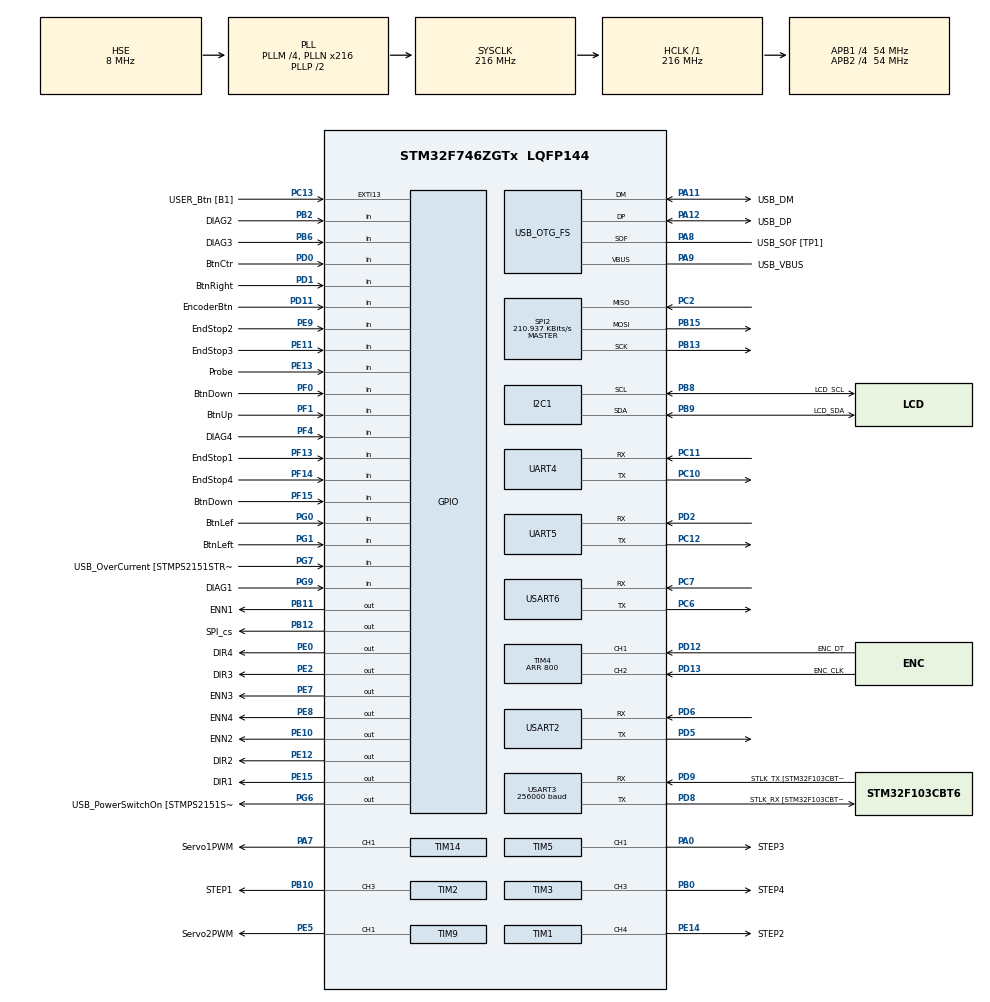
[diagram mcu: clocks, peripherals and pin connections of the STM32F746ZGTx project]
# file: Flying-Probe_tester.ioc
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Dma.Request0=USART6_RX
Dma.Request1=UART4_RX
Dma.Request2=UART5_RX
Dma.Request3=USART2_RX
Dma.Request4=USART3_RX
Dma.Request5=USART3_TX
Dma.UART4_RX.1.Direction=DMA_PERIPH_TO_MEMORY
Dma.UART4_RX.1.FIFOMode=DMA_FIFOMODE_DISABLE
Dma.UART4_RX.1.Instance=DMA1_Stream2
Dma.UART4_RX.1.MemDataAlignment=DMA_MDATAALIGN_BYTE
Dma.UART4_RX.1.MemInc=DMA_MINC_ENABLE
Dma.UART4_RX.1.Mode=DMA_NORMAL
Dma.UART4_RX.1.PeriphDataAlignment=DMA_PDATAALIGN_BYTE
Dma.UART4_RX.1.PeriphInc=DMA_PINC_DISABLE
Dma.UART4_RX.1.Priority=DMA_PRIORITY_LOW
Dma.UART5_RX.2.Direction=DMA_PERIPH_TO_MEMORY
Dma.UART5_RX.2.FIFOMode=DMA_FIFOMODE_DISABLE
Dma.UART5_RX.2.Instance=DMA1_Stream0
Dma.UART5_RX.2.MemDataAlignment=DMA_MDATAALIGN_BYTE
Dma.UART5_RX.2.MemInc=DMA_MINC_ENABLE
Dma.UART5_RX.2.Mode=DMA_NORMAL
Dma.UART5_RX.2.PeriphDataAlignment=DMA_PDATAALIGN_BYTE
Dma.UART5_RX.2.PeriphInc=DMA_PINC_DISABLE
Dma.UART5_RX.2.Priority=DMA_PRIORITY_LOW
Dma.USART2_RX.3.Direction=DMA_PERIPH_TO_MEMORY
Dma.USART2_RX.3.FIFOMode=DMA_FIFOMODE_DISABLE
Dma.USART2_RX.3.Instance=DMA1_Stream5
Dma.USART2_RX.3.MemDataAlignment=DMA_MDATAALIGN_BYTE
Dma.USART2_RX.3.MemInc=DMA_MINC_ENABLE
Dma.USART2_RX.3.Mode=DMA_NORMAL
Dma.USART2_RX.3.PeriphDataAlignment=DMA_PDATAALIGN_BYTE
Dma.USART2_RX.3.PeriphInc=DMA_PINC_DISABLE
Dma.USART2_RX.3.Priority=DMA_PRIORITY_LOW
Dma.USART3_RX.4.Direction=DMA_PERIPH_TO_MEMORY
Dma.USART3_RX.4.FIFOMode=DMA_FIFOMODE_DISABLE
Dma.USART3_RX.4.Instance=DMA1_Stream1
Dma.USART3_RX.4.MemDataAlignment=DMA_MDATAALIGN_BYTE
Dma.USART3_RX.4.MemInc=DMA_MINC_ENABLE
Dma.USART3_RX.4.Mode=DMA_NORMAL
Dma.USART3_RX.4.PeriphDataAlignment=DMA_PDATAALIGN_BYTE
Dma.USART3_RX.4.PeriphInc=DMA_PINC_DISABLE
Dma.USART3_RX.4.Priority=DMA_PRIORITY_LOW
Dma.USART3_TX.5.Direction=DMA_MEMORY_TO_PERIPH
Dma.USART3_TX.5.FIFOMode=DMA_FIFOMODE_DISABLE
Dma.USART3_TX.5.Instance=DMA1_Stream3
Dma.USART3_TX.5.MemDataAlignment=DMA_MDATAALIGN_BYTE
Dma.USART3_TX.5.MemInc=DMA_MINC_ENABLE
Dma.USART3_TX.5.Mode=DMA_NORMAL
Dma.USART3_TX.5.PeriphDataAlignment=DMA_PDATAALIGN_BYTE
Dma.USART3_TX.5.PeriphInc=DMA_PINC_DISABLE
Dma.USART3_TX.5.Priority=DMA_PRIORITY_LOW
Dma.USART6_RX.0.Direction=DMA_PERIPH_TO_MEMORY
Dma.USART6_RX.0.FIFOMode=DMA_FIFOMODE_DISABLE
Dma.USART6_RX.0.Instance=DMA2_Stream1
Dma.USART6_RX.0.MemDataAlignment=DMA_MDATAALIGN_BYTE
Dma.USART6_RX.0.MemInc=DMA_MINC_ENABLE
Dma.USART6_RX.0.Mode=DMA_NORMAL
Dma.USART6_RX.0.PeriphDataAlignment=DMA_PDATAALIGN_BYTE
Dma.USART6_RX.0.PeriphInc=DMA_PINC_DISABLE
Dma.USART6_RX.0.Priority=DMA_PRIORITY_LOW
FATFS._USE_LFN=2
FREERTOS.Tasks01=defaultTask,0,512,StartDefaultTask,Default,NULL,Dynamic,NULL,NULL
FREERTOS.configCHECK_FOR_STACK_OVERFLOW=2
FREERTOS.configGENERATE_RUN_TIME_STATS=1
FREERTOS.configMAX_PRIORITIES=12
FREERTOS.configQUEUE_REGISTRY_SIZE=255
FREERTOS.configTOTAL_HEAP_SIZE=32768
FREERTOS.configUSE_TRACE_FACILITY=1
I2C1.Timing=0x20404768
Mcu.Family=STM32F7
Mcu.Name=STM32F746ZGTx
Mcu.Package=LQFP144
NVIC.DMA1_Stream0_IRQn=true\:10\:0\:true\:false\:true\:true\:false\:true\:true
NVIC.DMA1_Stream1_IRQn=true\:10\:0\:true\:false\:true\:true\:false\:true\:true
NVIC.DMA1_Stream2_IRQn=true\:10\:0\:true\:false\:true\:true\:false\:true\:true
NVIC.DMA1_Stream3_IRQn=true\:10\:0\:true\:false\:true\:true\:false\:true\:true
NVIC.DMA1_Stream5_IRQn=true\:10\:0\:true\:false\:true\:true\:false\:true\:true
NVIC.DMA2_Stream1_IRQn=true\:5\:0\:false\:false\:true\:true\:false\:true\:true
NVIC.EXTI15_10_IRQn=true\:5\:0\:false\:false\:true\:true\:true\:true\:true
NVIC.PriorityGroup=NVIC_PRIORITYGROUP_4
NVIC.TIM1_CC_IRQn=true\:5\:0\:true\:false\:true\:true\:true\:true\:true
NVIC.TIM2_IRQn=true\:5\:0\:false\:false\:true\:true\:true\:true\:true
NVIC.TIM3_IRQn=true\:5\:0\:false\:false\:true\:true\:true\:true\:true
NVIC.TIM4_IRQn=true\:5\:0\:false\:false\:true\:true\:true\:true\:true
NVIC.TIM5_IRQn=true\:5\:0\:false\:false\:true\:true\:true\:true\:true
NVIC.TIM6_DAC_IRQn=true\:15\:0\:false\:false\:true\:false\:false\:true\:true
NVIC.TimeBase=TIM6_DAC_IRQn
NVIC.TimeBaseIP=TIM6
NVIC.UART4_IRQn=true\:5\:0\:false\:false\:true\:true\:true\:true\:true
NVIC.UART5_IRQn=true\:5\:0\:false\:false\:true\:true\:true\:true\:true
NVIC.USART2_IRQn=true\:5\:0\:false\:false\:true\:true\:true\:true\:true
NVIC.USART6_IRQn=true\:5\:0\:false\:false\:true\:true\:true\:true\:true
PA0/WKUP.GPIO_Label=STEP3
PA0/WKUP.Signal=S_TIM5_CH1
PA10.GPIO_Label=USB_ID
PA10.Signal=USB_OTG_FS_ID
PA11.GPIO_Label=USB_DM
PA11.Mode=Device_Only
PA11.Signal=USB_OTG_FS_DM
PA12.GPIO_Label=USB_DP
PA12.Mode=Device_Only
PA12.Signal=USB_OTG_FS_DP
PA13.GPIO_Label=TMS
PA13.Mode=Serial_Wire
PA13.Signal=SYS_JTMS-SWDIO
PA14.GPIO_Label=TCK
PA14.Mode=Serial_Wire
PA14.Signal=SYS_JTCK-SWCLK
PA7.GPIO_Label=Servo1PWM
PA7.Signal=S_TIM14_CH1
PA8.GPIO_Label=USB_SOF [TP1]
PA8.Mode=Activate_SOF_FS
PA8.Signal=USB_OTG_FS_SOF
PA9.GPIO_Label=USB_VBUS
PA9.Mode=Activate_VBUS
PA9.Signal=USB_OTG_FS_VBUS
PB0.GPIO_Label=STEP4
PB0.Signal=S_TIM3_CH3
PB10.GPIO_Label=STEP1
PB10.Signal=S_TIM2_CH3
PB11.GPIO_Label=ENN1
PB11.Signal=GPIO_Output
PB12.GPIO_Label=SPI_cs
PB12.Signal=GPIO_Output
PB13.GPIO_PuPd=GPIO_NOPULL
PB13.GPIO_Speed=GPIO_SPEED_FREQ_VERY_HIGH
PB13.Mode=Full_Duplex_Master
PB13.Signal=SPI2_SCK
PB15.GPIO_PuPd=GPIO_NOPULL
PB15.GPIO_Speed=GPIO_SPEED_FREQ_VERY_HIGH
PB15.Mode=Full_Duplex_Master
PB15.Signal=SPI2_MOSI
PB2.GPIO_Label=DIAG2
PB2.Signal=GPIO_Input
PB6.GPIO_Label=DIAG3
PB6.Signal=GPIO_Input
PB8.GPIO_Label=LCD_SCL
PB8.Mode=I2C
PB8.Signal=I2C1_SCL
PB9.GPIO_Label=LCD_SDA
PB9.Mode=I2C
PB9.Signal=I2C1_SDA
PC10.GPIO_PuPd=GPIO_NOPULL
PC10.Mode=Asynchronous
PC10.Signal=UART4_TX
PC11.Mode=Asynchronous
PC11.Signal=UART4_RX
PC12.GPIO_PuPd=GPIO_NOPULL
PC12.Mode=Asynchronous
PC12.Signal=UART5_TX
PC13.GPIO_Label=USER_Btn [B1]
PC13.GPIO_ModeDefaultEXTI=GPIO_MODE_IT_RISING
PC13.Signal=GPXTI13
PC14/OSC32_IN.Signal=RCC_OSC32_IN
PC15/OSC32_OUT.Signal=RCC_OSC32_OUT
PC2.GPIO_PuPd=GPIO_NOPULL
PC2.GPIO_Speed=GPIO_SPEED_FREQ_VERY_HIGH
PC2.Mode=Full_Duplex_Master
PC2.Signal=SPI2_MISO
PC6.GPIO_PuPd=GPIO_NOPULL
PC6.Mode=Asynchronous
PC6.Signal=USART6_TX
PC7.Mode=Asynchronous
PC7.Signal=USART6_RX
PD0.GPIO_Label=BtnCtr
PD0.GPIO_PuPd=GPIO_PULLUP
PD0.Signal=GPIO_Input
PD1.GPIO_Label=BtnRight
PD1.GPIO_PuPd=GPIO_PULLUP
PD1.Signal=GPIO_Input
PD11.GPIO_Label=EncoderBtn
PD11.Signal=GPIO_Input
PD12.GPIO_Label=ENC_DT
PD12.Signal=S_TIM4_CH1
PD13.GPIO_Label=ENC_CLK
PD13.Signal=S_TIM4_CH2
PD2.Mode=Asynchronous
PD2.Signal=UART5_RX
PD5.GPIO_PuPd=GPIO_NOPULL
PD5.Mode=Asynchronous
PD5.Signal=USART2_TX
PD6.Mode=Asynchronous
PD6.Signal=USART2_RX
PD8.GPIO_Label=STLK_RX [STM32F103CBT6_PA3]
PD8.GPIO_PuPd=GPIO_PULLUP
PD8.Mode=Asynchronous
PD8.Signal=USART3_TX
PD9.GPIO_Label=STLK_TX [STM32F103CBT6_PA2]
PD9.GPIO_PuPd=GPIO_PULLUP
PD9.Mode=Asynchronous
PD9.Signal=USART3_RX
PE0.GPIO_Label=DIR4
PE0.Signal=GPIO_Output
PE10.GPIO_Label=ENN2
PE10.Signal=GPIO_Output
PE11.GPIO_Label=EndStop3
PE11.GPIO_PuPd=GPIO_PULLUP
PE11.Signal=GPIO_Input
PE12.GPIO_Label=DIR2
PE12.Signal=GPIO_Output
PE13.GPIO_Label=Probe
PE13.GPIO_PuPd=GPIO_PULLDOWN
PE13.Signal=GPIO_Input
PE14.GPIO_Label=STEP2
PE14.Signal=S_TIM1_CH4
PE15.GPIO_Label=DIR1
PE15.Signal=GPIO_Output
PE2.GPIO_Label=DIR3
PE2.Signal=GPIO_Output
PE5.GPIO_Label=Servo2PWM
PE5.Signal=S_TIM9_CH1
PE7.GPIO_Label=ENN3
PE7.Signal=GPIO_Output
PE8.GPIO_Label=ENN4
PE8.Signal=GPIO_Output
PE9.GPIO_Label=EndStop2
PE9.GPIO_PuPd=GPIO_PULLUP
PE9.Signal=GPIO_Input
PF0.GPIO_Label=BtnDown
PF0.GPIO_PuPd=GPIO_PULLUP
PF0.Signal=GPIO_Input
PF1.GPIO_Label=BtnUp
PF1.GPIO_PuPd=GPIO_PULLUP
PF1.Signal=GPIO_Input
PF13.GPIO_Label=EndStop1
PF13.GPIO_PuPd=GPIO_PULLUP
PF13.Signal=GPIO_Input
PF14.GPIO_Label=EndStop4
PF14.GPIO_PuPd=GPIO_PULLUP
PF14.Signal=GPIO_Input
PF15.GPIO_Label=BtnDown
PF15.GPIO_PuPd=GPIO_PULLUP
PF15.Signal=GPIO_Input
PF4.GPIO_Label=DIAG4
PF4.Signal=GPIO_Input
PG0.GPIO_Label=BtnLef
PG0.GPIO_PuPd=GPIO_PULLUP
PG0.Signal=GPIO_Input
PG1.GPIO_Label=BtnLeft
PG1.GPIO_PuPd=GPIO_PULLUP
PG1.Signal=GPIO_Input
PG6.GPIO_Label=USB_PowerSwitchOn [STMPS2151STR_EN]
PG6.Signal=GPIO_Output
PG7.GPIO_Label=USB_OverCurrent [STMPS2151STR_FAULT]
PG7.Signal=GPIO_Input
PG9.GPIO_Label=DIAG1
PG9.Signal=GPIO_Input
PH0/OSC_IN.GPIO_Label=MCO [STM32F103CBT6_PA8]
PH0/OSC_IN.Mode=HSE-External-Oscillator
PH0/OSC_IN.Signal=RCC_OSC_IN
PH1/OSC_OUT.Mode=HSE-External-Oscillator
PH1/OSC_OUT.Signal=RCC_OSC_OUT
ProjectManager.HeapSize=0x200
ProjectManager.StackSize=0x400
ProjectManager.TargetToolchain=STM32CubeIDE
RCC.48MHZClocksFreq_Value=24000000
RCC.AHBFreq_Value=216000000
RCC.APB1CLKDivider=RCC_HCLK_DIV4
RCC.APB1Freq_Value=54000000
RCC.APB1TimFreq_Value=108000000
RCC.APB2CLKDivider=RCC_HCLK_DIV4
RCC.APB2Freq_Value=54000000
RCC.APB2TimFreq_Value=108000000
RCC.CortexFreq_Value=216000000
RCC.HCLKFreq_Value=216000000
RCC.HSE_VALUE=8000000
RCC.HSI_VALUE=16000000
RCC.LSE_VALUE=32768
RCC.PLLM=4
RCC.PLLMUL=RCC_PLL_MUL9
RCC.PLLN=216
RCC.PLLQ=9
RCC.PRESCALERUSB=RCC_USBCLKSOURCE_PLL_DIV1_5
RCC.SYSCLKFreq_VALUE=216000000
RCC.SYSCLKSource=RCC_SYSCLKSOURCE_PLLCLK
RCC.SYSCLKSourceVirtual=RCC_SYSCLKSOURCE_PLLCLK
RCC.USBFreq_Value=48000000
RCC.VCOOutputFreq_Value=432000000
SH.S_TIM14_CH1.0=TIM14_CH1,PWM Generation1 CH1
SH.S_TIM1_CH4.0=TIM1_CH4,PWM Generation4 CH4
SH.S_TIM2_CH3.0=TIM2_CH3,PWM Generation3 CH3
SH.S_TIM3_CH3.0=TIM3_CH3,PWM Generation3 CH3
SH.S_TIM4_CH1.0=TIM4_CH1,Encoder_Interface
SH.S_TIM4_CH2.0=TIM4_CH2,Encoder_Interface
SH.S_TIM5_CH1.0=TIM5_CH1,PWM Generation1 CH1
SH.S_TIM9_CH1.0=TIM9_CH1,PWM Generation1 CH1
SPI2.BaudRatePrescaler=SPI_BAUDRATEPRESCALER_256
SPI2.CalculateBaudRate=210.937 KBits/s
SPI2.DataSize=SPI_DATASIZE_8BIT
SPI2.Direction=SPI_DIRECTION_2LINES
SPI2.Mode=SPI_MODE_MASTER
SPI2.VirtualType=VM_MASTER
TIM1.Channel-PWM\ Generation4\ CH4=TIM_CHANNEL_4
TIM1.Period=1000
TIM1.Prescaler=215
TIM1.Pulse-PWM\ Generation4\ CH4=500
TIM14.Channel=TIM_CHANNEL_1
TIM14.Period=20000-1
TIM14.Prescaler=107
TIM14.Pulse=10
TIM2.Channel-PWM\ Generation3\ CH3=TIM_CHANNEL_3
TIM2.Period=1000
TIM2.Prescaler=215
TIM2.Pulse-PWM\ Generation3\ CH3=500
TIM3.Channel-PWM\ Generation3\ CH3=TIM_CHANNEL_3
TIM3.Period=1000
TIM3.Prescaler=215
TIM3.Pulse-PWM\ Generation3\ CH3=500
TIM4.EncoderMode=TIM_ENCODERMODE_TI12
TIM4.IC1Filter=15
TIM4.IC1Polarity=TIM_ICPOLARITY_RISING
TIM4.IC2Filter=15
TIM4.IC2Polarity=TIM_ICPOLARITY_RISING
TIM4.Period=800
TIM5.Channel-PWM\ Generation1\ CH1=TIM_CHANNEL_1
TIM5.Period=1000-1
TIM5.Prescaler=216-1
TIM5.Pulse-PWM\ Generation1\ CH1=500
TIM7.Prescaler=215
TIM9.Channel-PWM\ Generation1\ CH1=TIM_CHANNEL_1
TIM9.Period=20000-1
TIM9.Prescaler=107
TIM9.Pulse-PWM\ Generation1\ CH1=10
USART2.VirtualMode-Asynchronous=VM_ASYNC
USART3.BaudRate=256000
USART3.VirtualMode-Asynchronous=VM_ASYNC
USART6.VirtualMode-Asynchronous=VM_ASYNC
USB_OTG_FS.VirtualMode=Device_Only
VP_FATFS_VS_Generic.Mode=User_defined
VP_FREERTOS_VS_CMSIS_V1.Mode=CMSIS_V1
VP_SYS_VS_tim6.Mode=TIM6
VP_TIM14_VS_ClockSourceINT.Mode=Enable_Timer
VP_TIM1_VS_ClockSourceINT.Mode=Internal
VP_TIM2_VS_ClockSourceINT.Mode=Internal
VP_TIM3_VS_ClockSourceINT.Mode=Internal
VP_TIM7_VS_ClockSourceINT.Mode=Enable_Timer
VP_TIM9_VS_ClockSourceINT.Mode=Internal
board=NUCLEO-F746ZG

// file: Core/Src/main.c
/* USER CODE BEGIN Header */
/**
  ******************************************************************************
  * @file           : main.c
  * @brief          : Main program body
  ******************************************************************************
  * @attention
  *
  * Copyright (c) 2024 STMicroelectronics.
  * All rights reserved.
  *
  * This software is licensed under terms that can be found in the LICENSE file
  * in the root directory of this software component.
  * If no LICENSE file comes with this software, it is provided AS-IS.
  *
  ******************************************************************************
  */
/* USER CODE END Header */
#include "main.h"
#include "cmsis_os.h"
#include "fatfs.h"

/* USER CODE BEGIN Includes */

#include "lcd_config.h"
#include "encoder.h"
#include "encoder_config.h"
#include "stm32f7xx_hal.h"
#include "TMC2209.h"
#include "TMC2209_configs.h"
#include "servo.h"
#include "fatfs.h"
#include "calibration.h"
#include "app_tasks.h"

/* USER CODE END Includes */

I2C_HandleTypeDef hi2c1;

SPI_HandleTypeDef hspi2;

TIM_HandleTypeDef htim1;
TIM_HandleTypeDef htim2;
TIM_HandleTypeDef htim3;
TIM_HandleTypeDef htim4;
TIM_HandleTypeDef htim5;
TIM_HandleTypeDef htim7;
TIM_HandleTypeDef htim9;
TIM_HandleTypeDef htim14;

UART_HandleTypeDef huart4;
UART_HandleTypeDef huart5;
UART_HandleTypeDef huart2;
UART_HandleTypeDef huart3;
UART_HandleTypeDef huart6;
DMA_HandleTypeDef hdma_uart4_rx;
DMA_HandleTypeDef hdma_uart5_rx;
DMA_HandleTypeDef hdma_usart2_rx;
DMA_HandleTypeDef hdma_usart3_rx;
DMA_HandleTypeDef hdma_usart3_tx;
DMA_HandleTypeDef hdma_usart6_rx;

PCD_HandleTypeDef hpcd_USB_OTG_FS;

osThreadId defaultTaskHandle;
/* USER CODE BEGIN PV */

SERVO_Handle_TypeDef hservo1 = { .PwmOut = PWM_INIT_HANDLE(&htim14, TIM_CHANNEL_1), .ID= 1 };
SERVO_Handle_TypeDef hservo2 = { .PwmOut = PWM_INIT_HANDLE(&htim9, TIM_CHANNEL_1), .ID=2 };

Motor motors[MAX_MOTORS]; // Global motor array
Axis axes[MAX_MOTORS_PER_AXIS]; // Global axes array

volatile uint8_t flagUserBtn = 0;

// ENDTOP FLAGS:
volatile uint8_t ES1 = 0;
volatile uint8_t ES2 = 0;
volatile uint8_t ES3 = 0;
volatile uint8_t ES4 =0;

volatile uint8_t Btn1 = 0;
volatile uint8_t Btn2 = 0;
volatile uint8_t Btn3 = 0;
volatile uint8_t Btn4 =0;
volatile uint8_t Btn5 =0;

// Homing Flags

volatile uint8_t homingFlag = 0;
volatile uint8_t calibrationFlag =0;

/* USER CODE BEGIN PV */

/* USER CODE END PV */

void SystemClock_Config(void);
static void MX_GPIO_Init(void);
static void MX_DMA_Init(void);
static void MX_USART3_UART_Init(void);
static void MX_USB_OTG_FS_PCD_Init(void);
static void MX_TIM7_Init(void);
static void MX_TIM4_Init(void);
static void MX_TIM2_Init(void);
static void MX_USART2_UART_Init(void);
static void MX_SPI2_Init(void);
static void MX_TIM3_Init(void);
static void MX_TIM14_Init(void);
static void MX_TIM5_Init(void);
static void MX_TIM9_Init(void);
static void MX_I2C1_Init(void);
static void MX_USART6_UART_Init(void);
static void MX_UART4_Init(void);
static void MX_UART5_Init(void);
static void MX_TIM1_Init(void);
void StartDefaultTask(void const * argument);

/* USER CODE BEGIN 0 */

void HAL_GPIO_EXTI_Callback(uint16_t GPIO_Pin)
{
    if (GPIO_Pin == USER_Btn_Pin) // Check if the interrupt is for the correct button
    {

    flagUserBtn = 1;
    }

}
/* USER CODE END 0 */

int main(void)
{

  /* MCU Configuration--------------------------------------------------------*/

  /* Reset of all peripherals, Initializes the Flash interface and the Systick. */
  HAL_Init();

  /* Configure the system clock */
  SystemClock_Config();

  /* Initialize all configured peripherals */
  MX_GPIO_Init();
  MX_DMA_Init();
  MX_USART3_UART_Init();
  MX_USB_OTG_FS_PCD_Init();
  MX_TIM7_Init();
  MX_TIM4_Init();
  MX_TIM2_Init();
  MX_USART2_UART_Init();
  MX_FATFS_Init();
  MX_SPI2_Init();
  MX_TIM3_Init();
  MX_TIM14_Init();
  MX_TIM5_Init();
  MX_TIM9_Init();
  MX_I2C1_Init();
  MX_USART6_UART_Init();
  MX_UART4_Init();
  MX_UART5_Init();
  MX_TIM1_Init();
  /* USER CODE BEGIN 2 */

  LCD_I2C_Init(&hlcd3);
 // LCD_I2C_Clear(&hlcd3);

  SERVO_Init(&hservo1);
  SERVO_Init(&hservo2);

  ENC_Init(&henc1);

  //initializeSystem();

 // TMC2209_SetSpeed(&motors[0], 7000);
 // TMC2209_Start(&motors[0]);

  /* USER CODE END 2 */

  /* USER CODE BEGIN RTOS_MUTEX */
  /* add mutexes, ... */

  testingEvent = xEventGroupCreate();
  configASSERT(testingEvent != NULL);
  calibEventGroup = xEventGroupCreate();
  configASSERT(calibEventGroup != NULL);

  lcdMutex = xSemaphoreCreateMutex();
  /* USER CODE END RTOS_MUTEX */

  /* USER CODE BEGIN RTOS_SEMAPHORES */
  /* add semaphores, ... */
  xInitSemaphore = xSemaphoreCreateMutex();

  /* USER CODE END RTOS_SEMAPHORES */

  /* Create the thread(s) */
  /* definition and creation of defaultTask */
//  osThreadDef(defaultTask, StartDefaultTask, osPriorityNormal, 0, 512);
//  defaultTaskHandle = osThreadCreate(osThread(defaultTask), NULL);

  /* USER CODE BEGIN RTOS_THREADS */
  /* add threads, ... */

//  const osThreadAttr_t motorTask_attributes = {
//		  .name = "motorControlTask",
//		  .priority = (osPriority_t) osPriorityNormal,
//		  .stack_size = 512  // TODO: Adjust the stack size?
//  };
//  osThreadId_t motorTaskHandle = osThreadNew(motorControlTask, NULL, &motorTask_attributes);

  /* Create the main menu task */
  xTaskCreate(
	  motorControlTask,           /* Task function */
      "motorControlTask",          /* Task name (for debugging) */
      256,                     /* Stack size in words */
      NULL,         /* Task parameters */
	  tskIDLE_PRIORITY + 4,    /* Task priority */
      NULL                     /* Task handle (optional) */
  );

  xTaskCreate(
	  stallMonitorTask,          /* Task function */
      "StallMonitorTask",       /* Task name (for debugging) */
      128,        				/* Stack size in words */
      NULL,                     /* Task parameters */
	  tskIDLE_PRIORITY + 4,     /* Task priority */
      NULL                       /* Task handle (optional) */
  );

  xTaskCreate(
      vMainMenuTask,           /* Task function */
      "MainMenuTask",          /* Task name (for debugging) */
	  1024,                     /* Stack size in words */
      NULL,         /* Task parameters */
	  tskIDLE_PRIORITY + 1,    /* Task priority */
      NULL                     /* Task handle (optional) */
  );

  xTaskCreate(
	  vTestingTask,           /* Task function */
      "vTestingTask",          /* Task name (for debugging) */
	  768 ,                     /* Stack size in words */
      NULL,         /* Task parameters */
	  tskIDLE_PRIORITY + 3,    /* Task priority */
      NULL                     /* Task handle (optional) */
  );

  xTaskCreate(
      calibProcessTask,        /* Task function */
      "CalibProcessTask",      /* Task name */
      128,                     /* Stack size in words */
      NULL,                    /* Task parameters */
	  tskIDLE_PRIORITY + 2,    /* Task priority */
      NULL                     /* Task handle (optional) */
  );

  /* Start the FreeRTOS scheduler */
  vTaskStartScheduler();
  /* USER CODE END RTOS_THREADS */

  /* Start scheduler */
  osKernelStart();

  /* We should never get here as control is now taken by the scheduler */

  /* Infinite loop */
   while (1){
      }

}

void SystemClock_Config(void)
{
  RCC_OscInitTypeDef RCC_OscInitStruct = {0};
  RCC_ClkInitTypeDef RCC_ClkInitStruct = {0};

  /** Configure the main internal regulator output voltage
  */
  __HAL_RCC_PWR_CLK_ENABLE();
  __HAL_PWR_VOLTAGESCALING_CONFIG(PWR_REGULATOR_VOLTAGE_SCALE1);

  /** Initializes the RCC Oscillators according to the specified parameters
  * in the RCC_OscInitTypeDef structure.
  */
  RCC_OscInitStruct.OscillatorType = RCC_OSCILLATORTYPE_HSE;
  RCC_OscInitStruct.HSEState = RCC_HSE_ON;
  RCC_OscInitStruct.PLL.PLLState = RCC_PLL_ON;
  RCC_OscInitStruct.PLL.PLLSource = RCC_PLLSOURCE_HSE;
  RCC_OscInitStruct.PLL.PLLM = 4;
  RCC_OscInitStruct.PLL.PLLN = 216;
  RCC_OscInitStruct.PLL.PLLP = RCC_PLLP_DIV2;
  RCC_OscInitStruct.PLL.PLLQ = 9;
  if (HAL_RCC_OscConfig(&RCC_OscInitStruct) != HAL_OK)
  {
    Error_Handler();
  }

  /** Activate the Over-Drive mode
  */
  if (HAL_PWREx_EnableOverDrive() != HAL_OK)
  {
    Error_Handler();
  }

  /** Initializes the CPU, AHB and APB buses clocks
  */
  RCC_ClkInitStruct.ClockType = RCC_CLOCKTYPE_HCLK|RCC_CLOCKTYPE_SYSCLK
                              |RCC_CLOCKTYPE_PCLK1|RCC_CLOCKTYPE_PCLK2;
  RCC_ClkInitStruct.SYSCLKSource = RCC_SYSCLKSOURCE_PLLCLK;
  RCC_ClkInitStruct.AHBCLKDivider = RCC_SYSCLK_DIV1;
  RCC_ClkInitStruct.APB1CLKDivider = RCC_HCLK_DIV4;
  RCC_ClkInitStruct.APB2CLKDivider = RCC_HCLK_DIV4;

  if (HAL_RCC_ClockConfig(&RCC_ClkInitStruct, FLASH_LATENCY_7) != HAL_OK)
  {
    Error_Handler();
  }
}

static void MX_I2C1_Init(void)
{

  hi2c1.Instance = I2C1;
  hi2c1.Init.Timing = 0x20404768;
  hi2c1.Init.OwnAddress1 = 0;
  hi2c1.Init.AddressingMode = I2C_ADDRESSINGMODE_7BIT;
  hi2c1.Init.DualAddressMode = I2C_DUALADDRESS_DISABLE;
  hi2c1.Init.OwnAddress2 = 0;
  hi2c1.Init.OwnAddress2Masks = I2C_OA2_NOMASK;
  hi2c1.Init.GeneralCallMode = I2C_GENERALCALL_DISABLE;
  hi2c1.Init.NoStretchMode = I2C_NOSTRETCH_DISABLE;
  if (HAL_I2C_Init(&hi2c1) != HAL_OK)
  {
    Error_Handler();
  }

  /** Configure Analogue filter
  */
  if (HAL_I2CEx_ConfigAnalogFilter(&hi2c1, I2C_ANALOGFILTER_ENABLE) != HAL_OK)
  {
    Error_Handler();
  }

  /** Configure Digital filter
  */
  if (HAL_I2CEx_ConfigDigitalFilter(&hi2c1, 0) != HAL_OK)
  {
    Error_Handler();
  }

}

static void MX_SPI2_Init(void)
{

  /* SPI2 parameter configuration*/
  hspi2.Instance = SPI2;
  hspi2.Init.Mode = SPI_MODE_MASTER;
  hspi2.Init.Direction = SPI_DIRECTION_2LINES;
  hspi2.Init.DataSize = SPI_DATASIZE_8BIT;
  hspi2.Init.CLKPolarity = SPI_POLARITY_LOW;
  hspi2.Init.CLKPhase = SPI_PHASE_1EDGE;
  hspi2.Init.NSS = SPI_NSS_SOFT;
  hspi2.Init.BaudRatePrescaler = SPI_BAUDRATEPRESCALER_256;
  hspi2.Init.FirstBit = SPI_FIRSTBIT_MSB;
  hspi2.Init.TIMode = SPI_TIMODE_DISABLE;
  hspi2.Init.CRCCalculation = SPI_CRCCALCULATION_DISABLE;
  hspi2.Init.CRCPolynomial = 7;
  hspi2.Init.CRCLength = SPI_CRC_LENGTH_DATASIZE;
  hspi2.Init.NSSPMode = SPI_NSS_PULSE_ENABLE;
  if (HAL_SPI_Init(&hspi2) != HAL_OK)
  {
    Error_Handler();
  }

}

static void MX_TIM1_Init(void)
{

  TIM_ClockConfigTypeDef sClockSourceConfig = {0};
  TIM_MasterConfigTypeDef sMasterConfig = {0};
  TIM_OC_InitTypeDef sConfigOC = {0};
  TIM_BreakDeadTimeConfigTypeDef sBreakDeadTimeConfig = {0};

  htim1.Instance = TIM1;
  htim1.Init.Prescaler = 215;
  htim1.Init.CounterMode = TIM_COUNTERMODE_UP;
  htim1.Init.Period = 1000;
  htim1.Init.ClockDivision = TIM_CLOCKDIVISION_DIV1;
  htim1.Init.RepetitionCounter = 0;
  htim1.Init.AutoReloadPreload = TIM_AUTORELOAD_PRELOAD_DISABLE;
  if (HAL_TIM_Base_Init(&htim1) != HAL_OK)
  {
    Error_Handler();
  }
  sClockSourceConfig.ClockSource = TIM_CLOCKSOURCE_INTERNAL;
  if (HAL_TIM_ConfigClockSource(&htim1, &sClockSourceConfig) != HAL_OK)
  {
    Error_Handler();
  }
  if (HAL_TIM_PWM_Init(&htim1) != HAL_OK)
  {
    Error_Handler();
  }
  sMasterConfig.MasterOutputTrigger = TIM_TRGO_RESET;
  sMasterConfig.MasterOutputTrigger2 = TIM_TRGO2_RESET;
  sMasterConfig.MasterSlaveMode = TIM_MASTERSLAVEMODE_DISABLE;
  if (HAL_TIMEx_MasterConfigSynchronization(&htim1, &sMasterConfig) != HAL_OK)
  {
    Error_Handler();
  }
  sConfigOC.OCMode = TIM_OCMODE_PWM1;
  sConfigOC.Pulse = 500;
  sConfigOC.OCPolarity = TIM_OCPOLARITY_HIGH;
  sConfigOC.OCFastMode = TIM_OCFAST_DISABLE;
  sConfigOC.OCIdleState = TIM_OCIDLESTATE_RESET;
  sConfigOC.OCNIdleState = TIM_OCNIDLESTATE_RESET;
  if (HAL_TIM_PWM_ConfigChannel(&htim1, &sConfigOC, TIM_CHANNEL_4) != HAL_OK)
  {
    Error_Handler();
  }
  sBreakDeadTimeConfig.OffStateRunMode = TIM_OSSR_DISABLE;
  sBreakDeadTimeConfig.OffStateIDLEMode = TIM_OSSI_DISABLE;
  sBreakDeadTimeConfig.LockLevel = TIM_LOCKLEVEL_OFF;
  sBreakDeadTimeConfig.DeadTime = 0;
  sBreakDeadTimeConfig.BreakState = TIM_BREAK_DISABLE;
  sBreakDeadTimeConfig.BreakPolarity = TIM_BREAKPOLARITY_HIGH;
  sBreakDeadTimeConfig.BreakFilter = 0;
  sBreakDeadTimeConfig.Break2State = TIM_BREAK2_DISABLE;
  sBreakDeadTimeConfig.Break2Polarity = TIM_BREAK2POLARITY_HIGH;
  sBreakDeadTimeConfig.Break2Filter = 0;
  sBreakDeadTimeConfig.AutomaticOutput = TIM_AUTOMATICOUTPUT_DISABLE;
  if (HAL_TIMEx_ConfigBreakDeadTime(&htim1, &sBreakDeadTimeConfig) != HAL_OK)
  {
    Error_Handler();
  }
  HAL_TIM_MspPostInit(&htim1);

}

static void MX_TIM2_Init(void)
{

  TIM_ClockConfigTypeDef sClockSourceConfig = {0};
  TIM_MasterConfigTypeDef sMasterConfig = {0};
  TIM_OC_InitTypeDef sConfigOC = {0};

  htim2.Instance = TIM2;
  htim2.Init.Prescaler = 215;
  htim2.Init.CounterMode = TIM_COUNTERMODE_UP;
  htim2.Init.Period = 1000;
  htim2.Init.ClockDivision = TIM_CLOCKDIVISION_DIV1;
  htim2.Init.AutoReloadPreload = TIM_AUTORELOAD_PRELOAD_DISABLE;
  if (HAL_TIM_Base_Init(&htim2) != HAL_OK)
  {
    Error_Handler();
  }
  sClockSourceConfig.ClockSource = TIM_CLOCKSOURCE_INTERNAL;
  if (HAL_TIM_ConfigClockSource(&htim2, &sClockSourceConfig) != HAL_OK)
  {
    Error_Handler();
  }
  if (HAL_TIM_PWM_Init(&htim2) != HAL_OK)
  {
    Error_Handler();
  }
  sMasterConfig.MasterOutputTrigger = TIM_TRGO_RESET;
  sMasterConfig.MasterSlaveMode = TIM_MASTERSLAVEMODE_DISABLE;
  if (HAL_TIMEx_MasterConfigSynchronization(&htim2, &sMasterConfig) != HAL_OK)
  {
    Error_Handler();
  }
  sConfigOC.OCMode = TIM_OCMODE_PWM1;
  sConfigOC.Pulse = 500;
  sConfigOC.OCPolarity = TIM_OCPOLARITY_HIGH;
  sConfigOC.OCFastMode = TIM_OCFAST_DISABLE;
  if (HAL_TIM_PWM_ConfigChannel(&htim2, &sConfigOC, TIM_CHANNEL_3) != HAL_OK)
  {
    Error_Handler();
  }
  HAL_TIM_MspPostInit(&htim2);

}

static void MX_TIM3_Init(void)
{

  TIM_ClockConfigTypeDef sClockSourceConfig = {0};
  TIM_MasterConfigTypeDef sMasterConfig = {0};
  TIM_OC_InitTypeDef sConfigOC = {0};

  htim3.Instance = TIM3;
  htim3.Init.Prescaler = 215;
  htim3.Init.CounterMode = TIM_COUNTERMODE_UP;
  htim3.Init.Period = 1000;
  htim3.Init.ClockDivision = TIM_CLOCKDIVISION_DIV1;
  htim3.Init.AutoReloadPreload = TIM_AUTORELOAD_PRELOAD_DISABLE;
  if (HAL_TIM_Base_Init(&htim3) != HAL_OK)
  {
    Error_Handler();
  }
  sClockSourceConfig.ClockSource = TIM_CLOCKSOURCE_INTERNAL;
  if (HAL_TIM_ConfigClockSource(&htim3, &sClockSourceConfig) != HAL_OK)
  {
    Error_Handler();
  }
  if (HAL_TIM_PWM_Init(&htim3) != HAL_OK)
  {
    Error_Handler();
  }
  sMasterConfig.MasterOutputTrigger = TIM_TRGO_RESET;
  sMasterConfig.MasterSlaveMode = TIM_MASTERSLAVEMODE_DISABLE;
  if (HAL_TIMEx_MasterConfigSynchronization(&htim3, &sMasterConfig) != HAL_OK)
  {
    Error_Handler();
  }
  sConfigOC.OCMode = TIM_OCMODE_PWM1;
  sConfigOC.Pulse = 500;
  sConfigOC.OCPolarity = TIM_OCPOLARITY_HIGH;
  sConfigOC.OCFastMode = TIM_OCFAST_DISABLE;
  if (HAL_TIM_PWM_ConfigChannel(&htim3, &sConfigOC, TIM_CHANNEL_3) != HAL_OK)
  {
    Error_Handler();
  }
  HAL_TIM_MspPostInit(&htim3);

}

static void MX_TIM4_Init(void)
{

  TIM_Encoder_InitTypeDef sConfig = {0};
  TIM_MasterConfigTypeDef sMasterConfig = {0};

  htim4.Instance = TIM4;
  htim4.Init.Prescaler = 0;
  htim4.Init.CounterMode = TIM_COUNTERMODE_UP;
  htim4.Init.Period = 800;
  htim4.Init.ClockDivision = TIM_CLOCKDIVISION_DIV1;
  htim4.Init.AutoReloadPreload = TIM_AUTORELOAD_PRELOAD_DISABLE;
  sConfig.EncoderMode = TIM_ENCODERMODE_TI12;
  sConfig.IC1Polarity = TIM_ICPOLARITY_RISING;
  sConfig.IC1Selection = TIM_ICSELECTION_DIRECTTI;
  sConfig.IC1Prescaler = TIM_ICPSC_DIV1;
  sConfig.IC1Filter = 15;
  sConfig.IC2Polarity = TIM_ICPOLARITY_RISING;
  sConfig.IC2Selection = TIM_ICSELECTION_DIRECTTI;
  sConfig.IC2Prescaler = TIM_ICPSC_DIV1;
  sConfig.IC2Filter = 15;
  if (HAL_TIM_Encoder_Init(&htim4, &sConfig) != HAL_OK)
  {
    Error_Handler();
  }
  sMasterConfig.MasterOutputTrigger = TIM_TRGO_RESET;
  sMasterConfig.MasterSlaveMode = TIM_MASTERSLAVEMODE_DISABLE;
  if (HAL_TIMEx_MasterConfigSynchronization(&htim4, &sMasterConfig) != HAL_OK)
  {
    Error_Handler();
  }

}

static void MX_TIM5_Init(void)
{

  TIM_MasterConfigTypeDef sMasterConfig = {0};
  TIM_OC_InitTypeDef sConfigOC = {0};

  htim5.Instance = TIM5;
  htim5.Init.Prescaler = 216-1;
  htim5.Init.CounterMode = TIM_COUNTERMODE_UP;
  htim5.Init.Period = 1000-1;
  htim5.Init.ClockDivision = TIM_CLOCKDIVISION_DIV1;
  htim5.Init.AutoReloadPreload = TIM_AUTORELOAD_PRELOAD_DISABLE;
  if (HAL_TIM_PWM_Init(&htim5) != HAL_OK)
  {
    Error_Handler();
  }
  sMasterConfig.MasterOutputTrigger = TIM_TRGO_RESET;
  sMasterConfig.MasterSlaveMode = TIM_MASTERSLAVEMODE_DISABLE;
  if (HAL_TIMEx_MasterConfigSynchronization(&htim5, &sMasterConfig) != HAL_OK)
  {
    Error_Handler();
  }
  sConfigOC.OCMode = TIM_OCMODE_PWM1;
  sConfigOC.Pulse = 500;
  sConfigOC.OCPolarity = TIM_OCPOLARITY_HIGH;
  sConfigOC.OCFastMode = TIM_OCFAST_DISABLE;
  if (HAL_TIM_PWM_ConfigChannel(&htim5, &sConfigOC, TIM_CHANNEL_1) != HAL_OK)
  {
    Error_Handler();
  }
  HAL_TIM_MspPostInit(&htim5);

}

static void MX_TIM7_Init(void)
{

  TIM_MasterConfigTypeDef sMasterConfig = {0};

  htim7.Instance = TIM7;
  htim7.Init.Prescaler = 215;
  htim7.Init.CounterMode = TIM_COUNTERMODE_UP;
  htim7.Init.Period = 65535;
  htim7.Init.AutoReloadPreload = TIM_AUTORELOAD_PRELOAD_DISABLE;
  if (HAL_TIM_Base_Init(&htim7) != HAL_OK)
  {
    Error_Handler();
  }
  sMasterConfig.MasterOutputTrigger = TIM_TRGO_RESET;
  sMasterConfig.MasterSlaveMode = TIM_MASTERSLAVEMODE_DISABLE;
  if (HAL_TIMEx_MasterConfigSynchronization(&htim7, &sMasterConfig) != HAL_OK)
  {
    Error_Handler();
  }

}

static void MX_TIM9_Init(void)
{

  TIM_ClockConfigTypeDef sClockSourceConfig = {0};
  TIM_OC_InitTypeDef sConfigOC = {0};

  htim9.Instance = TIM9;
  htim9.Init.Prescaler = 107;
  htim9.Init.CounterMode = TIM_COUNTERMODE_UP;
  htim9.Init.Period = 20000-1;
  htim9.Init.ClockDivision = TIM_CLOCKDIVISION_DIV1;
  htim9.Init.AutoReloadPreload = TIM_AUTORELOAD_PRELOAD_DISABLE;
  if (HAL_TIM_Base_Init(&htim9) != HAL_OK)
  {
    Error_Handler();
  }
  sClockSourceConfig.ClockSource = TIM_CLOCKSOURCE_INTERNAL;
  if (HAL_TIM_ConfigClockSource(&htim9, &sClockSourceConfig) != HAL_OK)
  {
    Error_Handler();
  }
  if (HAL_TIM_PWM_Init(&htim9) != HAL_OK)
  {
    Error_Handler();
  }
  sConfigOC.OCMode = TIM_OCMODE_PWM1;
  sConfigOC.Pulse = 10;
  sConfigOC.OCPolarity = TIM_OCPOLARITY_HIGH;
  sConfigOC.OCFastMode = TIM_OCFAST_DISABLE;
  if (HAL_TIM_PWM_ConfigChannel(&htim9, &sConfigOC, TIM_CHANNEL_1) != HAL_OK)
  {
    Error_Handler();
  }
  HAL_TIM_MspPostInit(&htim9);

}

static void MX_TIM14_Init(void)
{

  TIM_OC_InitTypeDef sConfigOC = {0};

  htim14.Instance = TIM14;
  htim14.Init.Prescaler = 107;
  htim14.Init.CounterMode = TIM_COUNTERMODE_UP;
  htim14.Init.Period = 20000-1;
  htim14.Init.ClockDivision = TIM_CLOCKDIVISION_DIV1;
  htim14.Init.AutoReloadPreload = TIM_AUTORELOAD_PRELOAD_DISABLE;
  if (HAL_TIM_Base_Init(&htim14) != HAL_OK)
  {
    Error_Handler();
  }
  if (HAL_TIM_PWM_Init(&htim14) != HAL_OK)
  {
    Error_Handler();
  }
  sConfigOC.OCMode = TIM_OCMODE_PWM1;
  sConfigOC.Pulse = 10;
  sConfigOC.OCPolarity = TIM_OCPOLARITY_HIGH;
  sConfigOC.OCFastMode = TIM_OCFAST_DISABLE;
  if (HAL_TIM_PWM_ConfigChannel(&htim14, &sConfigOC, TIM_CHANNEL_1) != HAL_OK)
  {
    Error_Handler();
  }
  HAL_TIM_MspPostInit(&htim14);

}

static void MX_UART4_Init(void)
{

  huart4.Instance = UART4;
  huart4.Init.BaudRate = 115200;
  huart4.Init.WordLength = UART_WORDLENGTH_8B;
  huart4.Init.StopBits = UART_STOPBITS_1;
  huart4.Init.Parity = UART_PARITY_NONE;
  huart4.Init.Mode = UART_MODE_TX_RX;
  huart4.Init.HwFlowCtl = UART_HWCONTROL_NONE;
  huart4.Init.OverSampling = UART_OVERSAMPLING_16;
  huart4.Init.OneBitSampling = UART_ONE_BIT_SAMPLE_DISABLE;
  huart4.AdvancedInit.AdvFeatureInit = UART_ADVFEATURE_NO_INIT;
  if (HAL_UART_Init(&huart4) != HAL_OK)
  {
    Error_Handler();
  }

}

static void MX_UART5_Init(void)
{

  huart5.Instance = UART5;
  huart5.Init.BaudRate = 115200;
  huart5.Init.WordLength = UART_WORDLENGTH_8B;
  huart5.Init.StopBits = UART_STOPBITS_1;
  huart5.Init.Parity = UART_PARITY_NONE;
  huart5.Init.Mode = UART_MODE_TX_RX;
  huart5.Init.HwFlowCtl = UART_HWCONTROL_NONE;
  huart5.Init.OverSampling = UART_OVERSAMPLING_16;
  huart5.Init.OneBitSampling = UART_ONE_BIT_SAMPLE_DISABLE;
  huart5.AdvancedInit.AdvFeatureInit = UART_ADVFEATURE_NO_INIT;
  if (HAL_UART_Init(&huart5) != HAL_OK)
  {
    Error_Handler();
  }

}

static void MX_USART2_UART_Init(void)
{

  huart2.Instance = USART2;
  huart2.Init.BaudRate = 115200;
  huart2.Init.WordLength = UART_WORDLENGTH_8B;
  huart2.Init.StopBits = UART_STOPBITS_1;
  huart2.Init.Parity = UART_PARITY_NONE;
  huart2.Init.Mode = UART_MODE_TX_RX;
  huart2.Init.HwFlowCtl = UART_HWCONTROL_NONE;
  huart2.Init.OverSampling = UART_OVERSAMPLING_16;
  huart2.Init.OneBitSampling = UART_ONE_BIT_SAMPLE_DISABLE;
  huart2.AdvancedInit.AdvFeatureInit = UART_ADVFEATURE_NO_INIT;
  if (HAL_UART_Init(&huart2) != HAL_OK)
  {
    Error_Handler();
  }

}

static void MX_USART3_UART_Init(void)
{

  huart3.Instance = USART3;
  huart3.Init.BaudRate = 256000;
  huart3.Init.WordLength = UART_WORDLENGTH_8B;
  huart3.Init.StopBits = UART_STOPBITS_1;
  huart3.Init.Parity = UART_PARITY_NONE;
  huart3.Init.Mode = UART_MODE_TX_RX;
  huart3.Init.HwFlowCtl = UART_HWCONTROL_NONE;
  huart3.Init.OverSampling = UART_OVERSAMPLING_16;
  huart3.Init.OneBitSampling = UART_ONE_BIT_SAMPLE_DISABLE;
  huart3.AdvancedInit.AdvFeatureInit = UART_ADVFEATURE_NO_INIT;
  if (HAL_UART_Init(&huart3) != HAL_OK)
  {
    Error_Handler();
  }

}

static void MX_USART6_UART_Init(void)
{

  huart6.Instance = USART6;
  huart6.Init.BaudRate = 115200;
  huart6.Init.WordLength = UART_WORDLENGTH_8B;
  huart6.Init.StopBits = UART_STOPBITS_1;
  huart6.Init.Parity = UART_PARITY_NONE;
  huart6.Init.Mode = UART_MODE_TX_RX;
  huart6.Init.HwFlowCtl = UART_HWCONTROL_NONE;
  huart6.Init.OverSampling = UART_OVERSAMPLING_16;
  huart6.Init.OneBitSampling = UART_ONE_BIT_SAMPLE_DISABLE;
  huart6.AdvancedInit.AdvFeatureInit = UART_ADVFEATURE_NO_INIT;
  if (HAL_UART_Init(&huart6) != HAL_OK)
  {
    Error_Handler();
  }

}

static void MX_USB_OTG_FS_PCD_Init(void)
{

  hpcd_USB_OTG_FS.Instance = USB_OTG_FS;
  hpcd_USB_OTG_FS.Init.dev_endpoints = 6;
  hpcd_USB_OTG_FS.Init.speed = PCD_SPEED_FULL;
  hpcd_USB_OTG_FS.Init.dma_enable = DISABLE;
  hpcd_USB_OTG_FS.Init.phy_itface = PCD_PHY_EMBEDDED;
  hpcd_USB_OTG_FS.Init.Sof_enable = ENABLE;
  hpcd_USB_OTG_FS.Init.low_power_enable = DISABLE;
  hpcd_USB_OTG_FS.Init.lpm_enable = DISABLE;
  hpcd_USB_OTG_FS.Init.vbus_sensing_enable = ENABLE;
  hpcd_USB_OTG_FS.Init.use_dedicated_ep1 = DISABLE;
  if (HAL_PCD_Init(&hpcd_USB_OTG_FS) != HAL_OK)
  {
    Error_Handler();
  }

}

static void MX_DMA_Init(void)
{

  /* DMA controller clock enable */
  __HAL_RCC_DMA2_CLK_ENABLE();
  __HAL_RCC_DMA1_CLK_ENABLE();

  /* DMA interrupt init */
  /* DMA1_Stream0_IRQn interrupt configuration */
  HAL_NVIC_SetPriority(DMA1_Stream0_IRQn, 10, 0);
  HAL_NVIC_EnableIRQ(DMA1_Stream0_IRQn);
  /* DMA1_Stream1_IRQn interrupt configuration */
  HAL_NVIC_SetPriority(DMA1_Stream1_IRQn, 10, 0);
  HAL_NVIC_EnableIRQ(DMA1_Stream1_IRQn);
  /* DMA1_Stream2_IRQn interrupt configuration */
  HAL_NVIC_SetPriority(DMA1_Stream2_IRQn, 10, 0);
  HAL_NVIC_EnableIRQ(DMA1_Stream2_IRQn);
  /* DMA1_Stream3_IRQn interrupt configuration */
  HAL_NVIC_SetPriority(DMA1_Stream3_IRQn, 10, 0);
  HAL_NVIC_EnableIRQ(DMA1_Stream3_IRQn);
  /* DMA1_Stream5_IRQn interrupt configuration */
  HAL_NVIC_SetPriority(DMA1_Stream5_IRQn, 10, 0);
  HAL_NVIC_EnableIRQ(DMA1_Stream5_IRQn);
  /* DMA2_Stream1_IRQn interrupt configuration */
  HAL_NVIC_SetPriority(DMA2_Stream1_IRQn, 5, 0);
  HAL_NVIC_EnableIRQ(DMA2_Stream1_IRQn);

}

static void MX_GPIO_Init(void)
{
  GPIO_InitTypeDef GPIO_InitStruct = {0};

  /* GPIO Ports Clock Enable */
  __HAL_RCC_GPIOE_CLK_ENABLE();
  __HAL_RCC_GPIOC_CLK_ENABLE();
  __HAL_RCC_GPIOF_CLK_ENABLE();
  __HAL_RCC_GPIOH_CLK_ENABLE();
  __HAL_RCC_GPIOA_CLK_ENABLE();
  __HAL_RCC_GPIOB_CLK_ENABLE();
  __HAL_RCC_GPIOG_CLK_ENABLE();
  __HAL_RCC_GPIOD_CLK_ENABLE();

  /*Configure GPIO pin Output Level */
  HAL_GPIO_WritePin(GPIOE, DIR3_Pin|ENN3_Pin|ENN4_Pin|ENN2_Pin
                          |DIR2_Pin|DIR1_Pin|DIR4_Pin, GPIO_PIN_RESET);

  /*Configure GPIO pin Output Level */
  HAL_GPIO_WritePin(GPIOB, ENN1_Pin|SPI_cs_Pin, GPIO_PIN_RESET);

  /*Configure GPIO pin Output Level */
  HAL_GPIO_WritePin(USB_PowerSwitchOn_GPIO_Port, USB_PowerSwitchOn_Pin, GPIO_PIN_RESET);

  /*Configure GPIO pins : DIR3_Pin ENN3_Pin ENN4_Pin ENN2_Pin
                           DIR2_Pin DIR1_Pin DIR4_Pin */
  GPIO_InitStruct.Pin = DIR3_Pin|ENN3_Pin|ENN4_Pin|ENN2_Pin
                          |DIR2_Pin|DIR1_Pin|DIR4_Pin;
  GPIO_InitStruct.Mode = GPIO_MODE_OUTPUT_PP;
  GPIO_InitStruct.Pull = GPIO_NOPULL;
  GPIO_InitStruct.Speed = GPIO_SPEED_FREQ_LOW;
  HAL_GPIO_Init(GPIOE, &GPIO_InitStruct);

  /*Configure GPIO pin : USER_Btn_Pin */
  GPIO_InitStruct.Pin = USER_Btn_Pin;
  GPIO_InitStruct.Mode = GPIO_MODE_IT_RISING;
  GPIO_InitStruct.Pull = GPIO_NOPULL;
  HAL_GPIO_Init(USER_Btn_GPIO_Port, &GPIO_InitStruct);

  /*Configure GPIO pins : BtnDown_Pin BtnUp_Pin EndStop1_Pin EndStop4_Pin
                           BtnDownF15_Pin */
  GPIO_InitStruct.Pin = BtnDown_Pin|BtnUp_Pin|EndStop1_Pin|EndStop4_Pin
                          |BtnDownF15_Pin;
  GPIO_InitStruct.Mode = GPIO_MODE_INPUT;
  GPIO_InitStruct.Pull = GPIO_PULLUP;
  HAL_GPIO_Init(GPIOF, &GPIO_InitStruct);

  /*Configure GPIO pin : DIAG4_Pin */
  GPIO_InitStruct.Pin = DIAG4_Pin;
  GPIO_InitStruct.Mode = GPIO_MODE_INPUT;
  GPIO_InitStruct.Pull = GPIO_NOPULL;
  HAL_GPIO_Init(DIAG4_GPIO_Port, &GPIO_InitStruct);

  /*Configure GPIO pins : DIAG2_Pin DIAG3_Pin */
  GPIO_InitStruct.Pin = DIAG2_Pin|DIAG3_Pin;
  GPIO_InitStruct.Mode = GPIO_MODE_INPUT;
  GPIO_InitStruct.Pull = GPIO_NOPULL;
  HAL_GPIO_Init(GPIOB, &GPIO_InitStruct);

  /*Configure GPIO pins : BtnLef_Pin BtnLeft_Pin */
  GPIO_InitStruct.Pin = BtnLef_Pin|BtnLeft_Pin;
  GPIO_InitStruct.Mode = GPIO_MODE_INPUT;
  GPIO_InitStruct.Pull = GPIO_PULLUP;
  HAL_GPIO_Init(GPIOG, &GPIO_InitStruct);

  /*Configure GPIO pins : EndStop2_Pin EndStop3_Pin */
  GPIO_InitStruct.Pin = EndStop2_Pin|EndStop3_Pin;
  GPIO_InitStruct.Mode = GPIO_MODE_INPUT;
  GPIO_InitStruct.Pull = GPIO_PULLUP;
  HAL_GPIO_Init(GPIOE, &GPIO_InitStruct);

  /*Configure GPIO pin : Probe_Pin */
  GPIO_InitStruct.Pin = Probe_Pin;
  GPIO_InitStruct.Mode = GPIO_MODE_INPUT;
  GPIO_InitStruct.Pull = GPIO_PULLDOWN;
  HAL_GPIO_Init(Probe_GPIO_Port, &GPIO_InitStruct);

  /*Configure GPIO pins : ENN1_Pin SPI_cs_Pin */
  GPIO_InitStruct.Pin = ENN1_Pin|SPI_cs_Pin;
  GPIO_InitStruct.Mode = GPIO_MODE_OUTPUT_PP;
  GPIO_InitStruct.Pull = GPIO_NOPULL;
  GPIO_InitStruct.Speed = GPIO_SPEED_FREQ_LOW;
  HAL_GPIO_Init(GPIOB, &GPIO_InitStruct);

  /*Configure GPIO pin : EncoderBtn_Pin */
  GPIO_InitStruct.Pin = EncoderBtn_Pin;
  GPIO_InitStruct.Mode = GPIO_MODE_INPUT;
  GPIO_InitStruct.Pull = GPIO_NOPULL;
  HAL_GPIO_Init(EncoderBtn_GPIO_Port, &GPIO_InitStruct);

  /*Configure GPIO pin : USB_PowerSwitchOn_Pin */
  GPIO_InitStruct.Pin = USB_PowerSwitchOn_Pin;
  GPIO_InitStruct.Mode = GPIO_MODE_OUTPUT_PP;
  GPIO_InitStruct.Pull = GPIO_NOPULL;
  GPIO_InitStruct.Speed = GPIO_SPEED_FREQ_LOW;
  HAL_GPIO_Init(USB_PowerSwitchOn_GPIO_Port, &GPIO_InitStruct);

  /*Configure GPIO pins : USB_OverCurrent_Pin DIAG1_Pin */
  GPIO_InitStruct.Pin = USB_OverCurrent_Pin|DIAG1_Pin;
  GPIO_InitStruct.Mode = GPIO_MODE_INPUT;
  GPIO_InitStruct.Pull = GPIO_NOPULL;
  HAL_GPIO_Init(GPIOG, &GPIO_InitStruct);

  /*Configure GPIO pins : BtnCtr_Pin BtnRight_Pin */
  GPIO_InitStruct.Pin = BtnCtr_Pin|BtnRight_Pin;
  GPIO_InitStruct.Mode = GPIO_MODE_INPUT;
  GPIO_InitStruct.Pull = GPIO_PULLUP;
  HAL_GPIO_Init(GPIOD, &GPIO_InitStruct);

  /* EXTI interrupt init*/
  HAL_NVIC_SetPriority(EXTI15_10_IRQn, 5, 0);
  HAL_NVIC_EnableIRQ(EXTI15_10_IRQn);

}

void StartDefaultTask(void const * argument)
{
  /* USER CODE BEGIN 5 */
////  /* Infinite loop */
////  for(;;)
////  {
////   osDelay(1);
////  }
//
  /* USER CODE END 5 */
}

void HAL_TIM_PeriodElapsedCallback(TIM_HandleTypeDef *htim)
{
  if (htim->Instance == TIM6) {
    HAL_IncTick();
  }
}

void Error_Handler(void)
{
  __disable_irq();
  while (1)
  {
  }
}

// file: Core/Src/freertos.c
/* USER CODE BEGIN Header */
/**
  ******************************************************************************
  * File Name          : freertos.c
  * Description        : Code for freertos applications
  ******************************************************************************
  * @attention
  *
  * Copyright (c) 2025 STMicroelectronics.
  * All rights reserved.
  *
  * This software is licensed under terms that can be found in the LICENSE file
  * in the root directory of this software component.
  * If no LICENSE file comes with this software, it is provided AS-IS.
  *
  ******************************************************************************
  */
/* USER CODE END Header */

#include "FreeRTOS.h"
#include "task.h"
#include "main.h"

/* GetIdleTaskMemory prototype (linked to static allocation support) */
void vApplicationGetIdleTaskMemory( StaticTask_t **ppxIdleTaskTCBBuffer, StackType_t **ppxIdleTaskStackBuffer, uint32_t *pulIdleTaskStackSize );

/* Hook prototypes */
void configureTimerForRunTimeStats(void);
unsigned long getRunTimeCounterValue(void);
void vApplicationStackOverflowHook(xTaskHandle xTask, signed char *pcTaskName);

/* USER CODE BEGIN 1 */
/* Functions needed when configGENERATE_RUN_TIME_STATS is on */
__weak void configureTimerForRunTimeStats(void)
{

}

__weak unsigned long getRunTimeCounterValue(void)
{
return 0;
}
/* USER CODE END 1 */

/* USER CODE BEGIN 4 */
void vApplicationStackOverflowHook(xTaskHandle xTask, signed char *pcTaskName)
{
   /* Run time stack overflow checking is performed if
   configCHECK_FOR_STACK_OVERFLOW is defined to 1 or 2. This hook function is
   called if a stack overflow is detected. */
}
/* USER CODE END 4 */

/* USER CODE BEGIN GET_IDLE_TASK_MEMORY */
static StaticTask_t xIdleTaskTCBBuffer;
static StackType_t xIdleStack[configMINIMAL_STACK_SIZE];

void vApplicationGetIdleTaskMemory( StaticTask_t **ppxIdleTaskTCBBuffer, StackType_t **ppxIdleTaskStackBuffer, uint32_t *pulIdleTaskStackSize )
{
  *ppxIdleTaskTCBBuffer = &xIdleTaskTCBBuffer;
  *ppxIdleTaskStackBuffer = &xIdleStack[0];
  *pulIdleTaskStackSize = configMINIMAL_STACK_SIZE;
  /* place for user code */
}
/* USER CODE END GET_IDLE_TASK_MEMORY */
